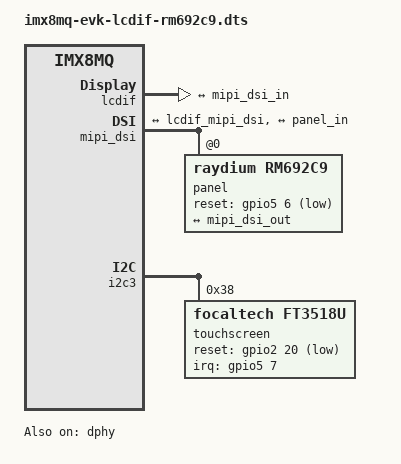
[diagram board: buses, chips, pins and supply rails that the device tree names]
// SPDX-License-Identifier: GPL-2.0+
/*
 * Copyright 2025 NXP
 */

#include "imx8mq-evk.dts"

&lcdif {
	status = "okay";
	max-memory-bandwidth = <575187600>;
	assigned-clocks = <&clk IMX8MQ_CLK_LCDIF_PIXEL>,
			  <&clk IMX8MQ_VIDEO_PLL1_BYPASS>,
			  <&clk IMX8MQ_VIDEO_PLL1_REF_SEL>,
			  <&clk IMX8MQ_VIDEO_PLL1>;
	assigned-clock-parents = <&clk IMX8MQ_VIDEO_PLL1_OUT>,
				 <&clk IMX8MQ_VIDEO_PLL1>,
				 <&clk IMX8MQ_CLK_27M>;
	assigned-clock-rate = <148500000>, <0>, <0>, <1039500000>;

	port {
		lcdif_mipi_dsi: endpoint {
			remote-endpoint = <&mipi_dsi_in>;
		};
	};
};

&mipi_dsi {
	status = "okay";
	#address-cells = <1>;
	#size-cells = <0>;

	panel@0 {
		compatible = "raydium,rm692c9";
		reg = <0>;
		pinctrl-0 = <&pinctrl_mipi_dsi_en>;
		pinctrl-names = "default";
		reset-gpios = <&gpio5 6 GPIO_ACTIVE_LOW>;
		dsi-lanes = <4>;

		port {
			panel_in: endpoint {
				remote-endpoint = <&mipi_dsi_out>;
			};
		};
	};

	ports {
		#address-cells = <1>;
		#size-cells = <0>;

		port@0 {
			#address-cells = <1>;
			#size-cells = <0>;
			reg = <0>;

			mipi_dsi_in: endpoint@0 {
				reg = <0>;
				remote-endpoint = <&lcdif_mipi_dsi>;
			};
		};

		port@1 {
			reg = <1>;

			mipi_dsi_out: endpoint {
				remote-endpoint = <&panel_in>;
			};
		};
	};
};

&dphy {
	status = "okay";
};

&iomuxc {
	pinctrl_mipi_dsi_en: mipi_dsi_en {
		fsl,pins = <
			MX8MQ_IOMUXC_ECSPI1_SCLK_GPIO5_IO6	0x16
		>;
	};

	pinctrl_mipi_dsi_ts_rst: mipi_dsi_ts_rst {
		fsl,pins = <
			MX8MQ_IOMUXC_SD2_WP_GPIO2_IO20		0x16
		>;
	};
};

&i2c3 {
	touchscreen@38 {
		compatible = "focaltech,ft3518u";
		reg = <0x38>;
		pinctrl-names = "default";
		pinctrl-0 = <&pinctrl_i2c1_dsi_ts_int>;
		reset-gpio = <&gpio2 20 GPIO_ACTIVE_LOW>;
		irq-gpio = <&gpio5 7 GPIO_ACTIVE_HIGH>;
		touchscreen-size-x = <1080>;
		touchscreen-size-y = <2340>;
		max-touch-number = <10>;
	};
};
